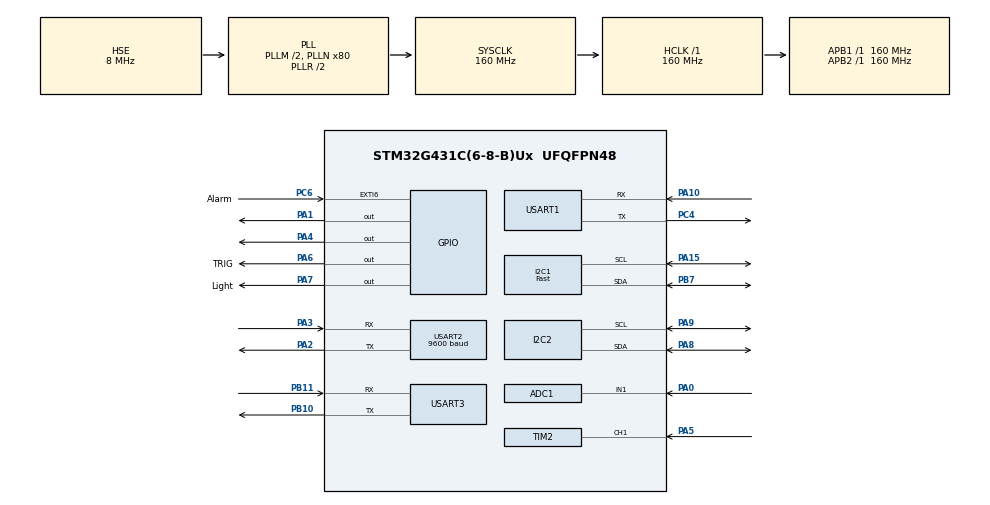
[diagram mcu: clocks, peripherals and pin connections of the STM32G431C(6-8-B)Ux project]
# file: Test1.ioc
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ADC1.Channel-0\#ChannelRegularConversion=ADC_CHANNEL_1
ADC1.NbrOfConversionFlag=1
ADC1.OffsetNumber-0\#ChannelRegularConversion=ADC_OFFSET_NONE
ADC1.Rank-0\#ChannelRegularConversion=1
ADC1.SamplingTime-0\#ChannelRegularConversion=ADC_SAMPLETIME_2CYCLES_5
ADC1.master=1
FREERTOS.Tasks01=defaultTask,0,128,StartDefaultTask,Default,NULL,Dynamic,NULL,NULL
FREERTOS.configTOTAL_HEAP_SIZE=15360
I2C1.I2C_Speed_Mode=I2C_Fast
I2C1.Timing=0x10F32A82
I2C2.Timing=0x30D29DE4
Mcu.Family=STM32G4
Mcu.Name=STM32G431C(6-8-B)Ux
Mcu.Package=UFQFPN48
NVIC.PriorityGroup=NVIC_PRIORITYGROUP_4
NVIC.TIM2_IRQn=true\:5\:0\:false\:false\:true\:true\:true\:true\:true
NVIC.USART2_IRQn=true\:5\:0\:false\:false\:true\:true\:true\:true\:true
PA0.Mode=IN1-Single-Ended
PA0.Signal=ADC1_IN1
PA1.Signal=GPIO_Output
PA10.Mode=Asynchronous
PA10.Signal=USART1_RX
PA13.Mode=Serial_Wire
PA13.Signal=SYS_JTMS-SWDIO
PA14.Mode=Serial_Wire
PA14.Signal=SYS_JTCK-SWCLK
PA15.Mode=I2C
PA15.Signal=I2C1_SCL
PA2.Mode=Asynchronous
PA2.Signal=USART2_TX
PA3.Mode=Asynchronous
PA3.Signal=USART2_RX
PA4.Signal=GPIO_Output
PA5.Signal=S_TIM2_CH1
PA6.GPIO_Label=TRIG
PA6.Signal=GPIO_Output
PA7.GPIO_Label=Light
PA7.Signal=GPIO_Output
PA8.Mode=I2C
PA8.Signal=I2C2_SDA
PA9.Mode=I2C
PA9.Signal=I2C2_SCL
PB10.Mode=Asynchronous
PB10.Signal=USART3_TX
PB11.Mode=Asynchronous
PB11.Signal=USART3_RX
PB7.Mode=I2C
PB7.Signal=I2C1_SDA
PC4.Mode=Asynchronous
PC4.Signal=USART1_TX
PC6.GPIO_Label=Alarm
PC6.GPIO_PuPd=GPIO_NOPULL
PC6.Signal=GPXTI6
PF0-OSC_IN.Mode=HSE-External-Oscillator
PF0-OSC_IN.Signal=RCC_OSC_IN
PF1-OSC_OUT.Mode=HSE-External-Oscillator
PF1-OSC_OUT.Signal=RCC_OSC_OUT
ProjectManager.HeapSize=0x200
ProjectManager.StackSize=0x400
ProjectManager.TargetToolchain=MDK-ARM V5.32
RCC.ADC12Freq_Value=160000000
RCC.AHBFreq_Value=160000000
RCC.APB1Freq_Value=160000000
RCC.APB1TimFreq_Value=160000000
RCC.APB2Freq_Value=160000000
RCC.APB2TimFreq_Value=160000000
RCC.CortexFreq_Value=160000000
RCC.EXTERNAL_CLOCK_VALUE=12288000
RCC.HCLKFreq_Value=160000000
RCC.HSI48_VALUE=48000000
RCC.HSI_VALUE=16000000
RCC.LSE_VALUE=32768
RCC.PLLM=RCC_PLLM_DIV2
RCC.PLLN=80
RCC.PLLSourceVirtual=RCC_PLLSOURCE_HSE
RCC.SYSCLKFreq_VALUE=160000000
RCC.SYSCLKSource=RCC_SYSCLKSOURCE_PLLCLK
RCC.USBFreq_Value=160000000
RCC.VCOOutputFreq_Value=320000000
SH.S_TIM2_CH1.0=TIM2_CH1,Input_Capture1_from_TI1
TIM2.Channel-Input_Capture1_from_TI1=TIM_CHANNEL_1
TIM2.PeriodNoDither=65535
TIM2.Prescaler=160-1
USART1.VirtualMode-Asynchronous=VM_ASYNC
USART2.BaudRate=9600
USART2.VirtualMode-Asynchronous=VM_ASYNC
USART3.VirtualMode-Asynchronous=VM_ASYNC
VP_FREERTOS_VS_CMSIS_V1.Mode=CMSIS_V1
VP_SYS_VS_DBSignals.Mode=DisableDeadBatterySignals
board=custom

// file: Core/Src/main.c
/* USER CODE BEGIN Header */
/**
  ******************************************************************************
  * @file           : main.c
  * @brief          : Main program body
  ******************************************************************************
  * @attention
  *
  * Copyright (c) 2026 STMicroelectronics.
  * All rights reserved.
  *
  * This software is licensed under terms that can be found in the LICENSE file
  * in the root directory of this software component.
  * If no LICENSE file comes with this software, it is provided AS-IS.
  *
  ******************************************************************************
  */
/* USER CODE END Header */
#include "main.h"
#include "cmsis_os.h"
#include "adc.h"
#include "i2c.h"
#include "tim.h"
#include "usart.h"
#include "gpio.h"

/* USER CODE BEGIN Includes */
#include "oled.h"

/* USER CODE END Includes */

void SystemClock_Config(void);
void MX_FREERTOS_Init(void);

int main(void)
{

  /* MCU Configuration--------------------------------------------------------*/

  /* Reset of all peripherals, Initializes the Flash interface and the Systick. */
  HAL_Init();

  /* Configure the system clock */
  SystemClock_Config();

  /* Initialize all configured peripherals */
  MX_GPIO_Init();
  MX_I2C1_Init();
  MX_USART1_UART_Init();
  MX_USART2_UART_Init();
  MX_TIM2_Init();
  MX_ADC1_Init();
  MX_I2C2_Init();
  MX_USART3_UART_Init();
  /* USER CODE BEGIN 2 */
  OLED_Init();
  OLED_Clear();
  /* USER CODE END 2 */

  /* Call init function for freertos objects (in cmsis_os2.c) */
  MX_FREERTOS_Init();

  /* Start scheduler */
  osKernelStart();

  /* We should never get here as control is now taken by the scheduler */

  /* Infinite loop */
  while (1)
  {

  }
}

void SystemClock_Config(void)
{
  RCC_OscInitTypeDef RCC_OscInitStruct = {0};
  RCC_ClkInitTypeDef RCC_ClkInitStruct = {0};

  /** Configure the main internal regulator output voltage
  */
  HAL_PWREx_ControlVoltageScaling(PWR_REGULATOR_VOLTAGE_SCALE1_BOOST);

  /** Initializes the RCC Oscillators according to the specified parameters
  * in the RCC_OscInitTypeDef structure.
  */
  RCC_OscInitStruct.OscillatorType = RCC_OSCILLATORTYPE_HSE;
  RCC_OscInitStruct.HSEState = RCC_HSE_ON;
  RCC_OscInitStruct.PLL.PLLState = RCC_PLL_ON;
  RCC_OscInitStruct.PLL.PLLSource = RCC_PLLSOURCE_HSE;
  RCC_OscInitStruct.PLL.PLLM = RCC_PLLM_DIV2;
  RCC_OscInitStruct.PLL.PLLN = 80;
  RCC_OscInitStruct.PLL.PLLP = RCC_PLLP_DIV2;
  RCC_OscInitStruct.PLL.PLLQ = RCC_PLLQ_DIV2;
  RCC_OscInitStruct.PLL.PLLR = RCC_PLLR_DIV2;
  if (HAL_RCC_OscConfig(&RCC_OscInitStruct) != HAL_OK)
  {
    Error_Handler();
  }

  /** Initializes the CPU, AHB and APB buses clocks
  */
  RCC_ClkInitStruct.ClockType = RCC_CLOCKTYPE_HCLK|RCC_CLOCKTYPE_SYSCLK
                              |RCC_CLOCKTYPE_PCLK1|RCC_CLOCKTYPE_PCLK2;
  RCC_ClkInitStruct.SYSCLKSource = RCC_SYSCLKSOURCE_PLLCLK;
  RCC_ClkInitStruct.AHBCLKDivider = RCC_SYSCLK_DIV1;
  RCC_ClkInitStruct.APB1CLKDivider = RCC_HCLK_DIV1;
  RCC_ClkInitStruct.APB2CLKDivider = RCC_HCLK_DIV1;

  if (HAL_RCC_ClockConfig(&RCC_ClkInitStruct, FLASH_LATENCY_4) != HAL_OK)
  {
    Error_Handler();
  }
}

void Error_Handler(void)
{
  __disable_irq();
  while (1)
  {
  }
}

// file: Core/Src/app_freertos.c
/* USER CODE BEGIN Header */
/**
  ******************************************************************************
  * File Name          : app_freertos.c
  * Description        : Code for freertos applications
  ******************************************************************************
  * @attention
  *
  * Copyright (c) 2026 STMicroelectronics.
  * All rights reserved.
  *
  * This software is licensed under terms that can be found in the LICENSE file
  * in the root directory of this software component.
  * If no LICENSE file comes with this software, it is provided AS-IS.
  *
  ******************************************************************************
  */
/* USER CODE END Header */

#include "FreeRTOS.h"
#include "task.h"
#include "main.h"
#include "cmsis_os.h"

/* USER CODE BEGIN Includes */
#include <stdio.h>
#include <string.h>
#include "mpu6050.h"
#include "i2c.h"
#include "hr04.h"
#include "tim.h"
#include "usart.h"
#include "gps.h"
#include "oled.h"
#include "adc.h"
#include <math.h>
#include <stdbool.h>
#include <stdlib.h>    /* atof */
/* USER CODE END Includes */

/* USER CODE BEGIN Variables */
volatile uint8_t GPS_RX_BUF;
volatile uint16_t GPS_RX_INDEX = 0;
volatile uint32_t adc_value = 0;
volatile uint8_t light_percent = 0;
char oled_buf[20];
float distance;
float pitch = 0.0f, roll = 0.0f;          // 融合角度
float pitch_off = 0.0f, roll_off = 0.0f;  // 校准偏移量
const float alpha = 0.98f;                // 滤波系数

float pitch_real = 0.0f,roll_real = 0.0f;
char gps_lat_str[16] = "0.000000";   /* 经度字符串 */
char gps_lon_str[16] = "0.000000";   /* 纬度字符串 */
uint8_t gps_valid = 0;               /* GPS是否有效 */
uint8_t sms_rx_buf[128];

#define RAD_TO_DEG 57.2957795f
#define ALPHA       0.98f
#define RAD_TO_DEG  57.2957795f
#define DT          0.01f        // 与 osDelay(10) 对应，单位秒

MPU6050_t MPU6050;
osThreadId lightTaskHandle;
osThreadId oledTaskHandle;
osThreadId buzzerTaskHandle;
osThreadId mpuTaskHandle;
osThreadId gpsTaskHandle;
osThreadId hcsr04TaskHandle;
osThreadId ledTaskHandle;
osSemaphoreId smsTriggerSemaphore;   /* PC6 触发信号量 */
osThreadId    smsTaskHandle;         /* SMS 任务句柄 */
/* USER CODE END Variables */
osThreadId defaultTaskHandle;

/* USER CODE BEGIN FunctionPrototypes */
void StartMpuTask(void const * argument);
void Mpu6050_Function(I2C_HandleTypeDef* i2cHandle, MPU6050_t *DataStruct);
void StartGpsTask(void const * argument);
void StartHcsr04Task(void const * argument);
void StartLightTask(void const * argument);
void StartOledTask(void const * argument);
void StartBuzzerTask(void const * argument);
void StartLedTask(void const * argument);
void StartSmsTask(void const * argument);          /* SMS 任务 */
void A7670_SendCmd(const char *cmd, uint32_t delay_ms);
void A7670_SendSMS(const char *phone, const char *message);
void A7670_SendCmdWithResponse(const char *cmd, uint32_t delay_ms);
/* USER CODE END FunctionPrototypes */

void StartDefaultTask(void const * argument);

void MX_FREERTOS_Init(void); /* (MISRA C 2004 rule 8.1) */

void MX_FREERTOS_Init(void) {

  /* Create the thread(s) */
  /* definition and creation of defaultTask */
  osThreadDef(defaultTask, StartDefaultTask, osPriorityNormal, 0, 128);
  defaultTaskHandle = osThreadCreate(osThread(defaultTask), NULL);

  /* USER CODE BEGIN RTOS_THREADS */
  /* add threads, ... */
  osThreadDef(mpuTask, StartMpuTask, osPriorityNormal, 0, 256);
  mpuTaskHandle = osThreadCreate(osThread(mpuTask), NULL);

  osThreadDef(gpsTask, StartGpsTask, osPriorityNormal, 0, 256);
  gpsTaskHandle = osThreadCreate(osThread(gpsTask), NULL);

  osThreadDef(hcsr04Task, StartHcsr04Task, osPriorityBelowNormal, 0, 256);
  hcsr04TaskHandle = osThreadCreate(osThread(hcsr04Task), NULL);

  osThreadDef(lightTask, StartLightTask, osPriorityNormal, 0, 256);
  lightTaskHandle = osThreadCreate(osThread(lightTask), NULL);

  osThreadDef(oledTask, StartOledTask, osPriorityBelowNormal, 0, 256);
  oledTaskHandle = osThreadCreate(osThread(oledTask), NULL);

  osThreadDef(buzzerTask, StartBuzzerTask, osPriorityBelowNormal, 0, 256);
  buzzerTaskHandle = osThreadCreate(osThread(buzzerTask), NULL);

  osThreadDef(ledTask, StartLedTask, osPriorityNormal, 0, 128);
  ledTaskHandle = osThreadCreate(osThread(ledTask), NULL);

  osSemaphoreDef(smsTrigger);
  smsTriggerSemaphore = osSemaphoreCreate(osSemaphore(smsTrigger), 1);
  osSemaphoreWait(smsTriggerSemaphore, 0);  /* 清空初始计数 */

  osThreadDef(smsTask, StartSmsTask, osPriorityNormal, 0, 256);
  smsTaskHandle = osThreadCreate(osThread(smsTask), NULL);

  /* USER CODE END RTOS_THREADS */

}

void StartDefaultTask(void const * argument)
{
  for(;;)
  {
    osDelay(1);
  }
}

/* USER CODE BEGIN Application */
void HAL_TIM_IC_CaptureCallback(TIM_HandleTypeDef *htim)
{
    if (htim->Instance == TIM2)
    {
        Hcsr04TimIcIsr(htim);
    }
}

void HAL_TIM_PeriodElapsedCallback(TIM_HandleTypeDef *htim)
{
    if (htim->Instance == TIM2)
    {
        Hcsr04TimOverflowIsr(htim);
    }
}

void HAL_UART_RxCpltCallback(UART_HandleTypeDef *huart)
{
    if (huart->Instance == USART2)
    {
        if (GPS_RX_BUF == '$')
        {
            GPS_RX_INDEX = 0;
        }

        if (GPS_RX_INDEX < GPS_Buffer_Length - 1)
        {
            Save_Data.GPS_Buffer[GPS_RX_INDEX++] = GPS_RX_BUF;

            if (GPS_RX_BUF == '\n')
            {
                Save_Data.GPS_Buffer[GPS_RX_INDEX] = '\0';
                Save_Data.isGetData = true;
            }
        }
        else
        {
            GPS_RX_INDEX = 0;
        }

        HAL_UART_Receive_IT(&huart2, &GPS_RX_BUF, 1);
    }
}

/* ========== 校准函数 ========== */
void MPU6050_Calibrate(I2C_HandleTypeDef *hi2c, MPU6050_t *mpu)
{
    float p = 0, r = 0;

    // 先预热滤波器50次，丢弃结果
    for (uint8_t i = 0; i < 50; i++)
    {
        MPU6050_Read_All(hi2c, mpu);
        float acc_p = atan2f(mpu->Ay,
                       sqrtf(mpu->Ax*mpu->Ax + mpu->Az*mpu->Az)) * RAD_TO_DEG;
        float acc_r = atan2f(-mpu->Ax, mpu->Az) * RAD_TO_DEG;

        //  正确互补滤波（陀螺仪积分 + 加速度计修正）
        float gyroPitch = mpu->Gy * DT;  // 陀螺仪角速度 × dt
        float gyroRoll  = mpu->Gx * DT;
        pitch = ALPHA * (pitch + gyroPitch) + (1.0f - ALPHA) * acc_p;
        roll  = ALPHA * (roll  + gyroRoll)  + (1.0f - ALPHA) * acc_r;
        osDelay(10);
    }

    // 再采集100次求平均，作为偏移量
    for (uint8_t i = 0; i < 100; i++)
    {
        MPU6050_Read_All(hi2c, mpu);
        float acc_p = atan2f(mpu->Ay,
                       sqrtf(mpu->Ax*mpu->Ax + mpu->Az*mpu->Az)) * RAD_TO_DEG;
        float acc_r = atan2f(-mpu->Ax, mpu->Az) * RAD_TO_DEG;

        float gyroPitch = mpu->Gy * DT;
        float gyroRoll  = mpu->Gx * DT;
        pitch = ALPHA * (pitch + gyroPitch) + (1.0f - ALPHA) * acc_p;
        roll  = ALPHA * (roll  + gyroRoll)  + (1.0f - ALPHA) * acc_r;

        p += pitch;
        r += roll;
        osDelay(10);
    }

    pitch_off = p / 100.0f;
    roll_off  = r / 100.0f;
    printf("校准完成！偏移：Pitch=%.2f° Roll=%.2f°\r\n", pitch_off, roll_off);
}

/* ========== 主运行函数 ========== */
void Mpu6050_Function(I2C_HandleTypeDef* i2cHandle, MPU6050_t *DataStruct)
{
    MPU6050_Read_All(i2cHandle, DataStruct);

    float accPitch = atan2f(DataStruct->Ay,
                      sqrtf(DataStruct->Ax*DataStruct->Ax +
                            DataStruct->Az*DataStruct->Az)) * RAD_TO_DEG;
    float accRoll  = atan2f(-DataStruct->Ax, DataStruct->Az) * RAD_TO_DEG;

    float gyroPitch = DataStruct->Gy * DT;
    float gyroRoll  = DataStruct->Gx * DT;
    pitch = ALPHA * (pitch + gyroPitch) + (1.0f - ALPHA) * accPitch;
    roll  = ALPHA * (roll  + gyroRoll)  + (1.0f - ALPHA) * accRoll;

    pitch_real = pitch - pitch_off;
    roll_real  = roll  - roll_off;

//    printf("Pitch: %.1f° | Roll: %.1f°\r\n", pitch_real, roll_real);

    // ========== 跌倒检测状态机 ==========
    static uint8_t  fall_state      = 0;
    static uint32_t fall_first_tick = 0;

    if (fabsf(roll_real) > 60.0f)
    {
        if (fall_state == 0)
        {
            fall_state      = 1;
            fall_first_tick = osKernelSysTick();
            printf("疑似跌倒，10s后二次确认...\r\n");
        }
        else if (fall_state == 1)
        {
            uint32_t elapsed = osKernelSysTick() - fall_first_tick;
            if (elapsed >= 10000)
            {
                printf("跌倒确认！正在通知监护人...\r\n");
                osSemaphoreRelease(smsTriggerSemaphore);  // ← 触发短信
                fall_state = 2;  // 进入锁定态，不再重复触发
            }
        }
    }
    else
    {
        if (fall_state == 1)
        {
            printf("角度已恢复，取消疑似跌倒。\r\n");
        }
        // 注意：fall_state==2 不重置，保持锁定
        if (fall_state != 2)
        {
            fall_state = 0;
        }
    }
}

/* ========== 任务入口 ========== */
void StartMpuTask(void const * argument)
{
    osDelay(2000);
    while (MPU6050_Init(&hi2c1) == 1)
    {
        printf("MPU6050 初始化失败\r\n");
        osDelay(500);
    }
    printf("MPU6050 初始化成功\r\n");

    printf("请平放设备，3秒后开始校准...\r\n");
    osDelay(3000);
    MPU6050_Calibrate(&hi2c1, &MPU6050);

    for (;;)
    {
        Mpu6050_Function(&hi2c1, &MPU6050);
        osDelay(10);   // 10ms = 100Hz 刷新率
    }
 }

/* GPS模块任务 */
void StartGpsTask(void const * argument)
{
    osDelay(100);

    printf("gps task start\r\n");
    HAL_UART_Receive_IT(&huart2, (uint8_t *)&GPS_RX_BUF, 1);

    for(;;)
    {
        printf("gps task alive\r\n");
        parseGpsBuffer();
        printGpsBuffer();
        osDelay(1000);
    }
}
/* Hr04测距模块任务 */
void StartHcsr04Task(void const * argument)
{
    osDelay(100);

    Hcsr04Init(&htim2, TIM_CHANNEL_1);
    printf("hc-sr04 start!\r\n");

    for(;;)
    {
        osDelay(300);
    }
}
/* 光敏传感器任务 */
void StartLightTask(void const * argument)
{
  osDelay(100);

  for(;;)
  {
    if (HAL_ADC_Start(&hadc1) == HAL_OK)
    {
      if (HAL_ADC_PollForConversion(&hadc1, 10) == HAL_OK)
      {
        adc_value = HAL_ADC_GetValue(&hadc1);
        light_percent = 100 - (adc_value * 100 / 4095);
      }
      HAL_ADC_Stop(&hadc1);
    }

    osDelay(200);
  }
}

/* OLED显示任务 */
void StartOledTask(void const * argument)
{
    osDelay(200);

    for (;;)
    {
        OLED_Clear();

        /* 光照 */
        sprintf(oled_buf, "L:%d%%", light_percent);
        OLED_ShowString(0, 0, (uint8_t *)oled_buf, 16);

        /* GPS 显示经纬度，格式：22.07.48 113.30.26 */
        if (gps_valid)
            sprintf(oled_buf, "%s %s", gps_lat_str, gps_lon_str);
        else
            sprintf(oled_buf, "GPS: waiting...");
        OLED_ShowString(0, 2, (uint8_t *)oled_buf, 16);

        /* 距离 */
        distance = Hcsr04ReadFiltered();
        sprintf(oled_buf, "Dist:%.1f cm", distance);
        OLED_ShowString(0, 4, (uint8_t *)oled_buf, 16);

        /* Pitch / Roll */
        sprintf(oled_buf, "P:%.1f R:%.1f", pitch_real, roll_real);
        OLED_ShowString(0, 6, (uint8_t *)oled_buf, 16);

        osDelay(500);
    }
}

/* 蜂鸣器任务 */
void StartBuzzerTask(void const * argument)
{
    osDelay(200);
    HAL_GPIO_WritePin(GPIOA, GPIO_PIN_1, GPIO_PIN_RESET);

    for(;;)
    {
        // 阈值：小于10cm报警
        if (distance < 10.0f && distance > 0)
        {
            HAL_GPIO_WritePin(GPIOA, GPIO_PIN_1, GPIO_PIN_SET);  // 响
        }
        else
        {
            HAL_GPIO_WritePin(GPIOA, GPIO_PIN_1, GPIO_PIN_RESET);// 不响
        }
        osDelay(100);
    }
}

/* 照明灯任务 */
void StartLedTask(void const * argument)
{
    osDelay(100);

    HAL_GPIO_WritePin(GPIOA, GPIO_PIN_7, GPIO_PIN_RESET);

    for(;;)
    {
        if (light_percent < 50)
        {
            HAL_GPIO_WritePin(GPIOA, GPIO_PIN_7, GPIO_PIN_SET);
            printf("光照=%d%%, 照明灯打开\r\n", light_percent);
        }
        else
        {
            HAL_GPIO_WritePin(GPIOA, GPIO_PIN_7, GPIO_PIN_RESET);
            printf("光照=%d%%, 照明灯关闭\r\n", light_percent);
        }

        osDelay(500);
    }
}

/* ============================================================
 * SMS 模块实现
 * ============================================================ */

/* 发送 AT 指令并等待指定时间 */
void A7670_SendCmd(const char *cmd, uint32_t delay_ms)
{
    HAL_UART_Transmit(&huart3, (uint8_t *)cmd, strlen(cmd), 1000);
    osDelay(delay_ms);
}

/* 发送短信（Text 模式） */
void A7670_SendSMS(const char *phone, const char *message)
{
    char cmd[64];
    uint8_t ctrlZ = 0x1A;

    printf("[SMS] 开始发送短信至 %s\r\n", phone);

    A7670_SendCmd("AT+CMGF=1\r\n", 500);
    A7670_SendCmd("AT+CSCS=\"UCS2\"\r\n", 500);   /* 改为 UCS2 支持中文 */

    sprintf(cmd, "AT+CMGS=\"%s\"\r\n", phone);
    A7670_SendCmd(cmd, 500);

    A7670_SendCmd(message, 100);

    HAL_UART_Transmit(&huart3, &ctrlZ, 1, 1000);
    osDelay(5000);

    printf("[SMS] 发送完成\r\n");
}

/* SMS FreeRTOS 任务 */

void StartSmsTask(void const * argument)
{
    osDelay(5000);
    printf("[SMS] SMS任务就绪，等待跌倒触发...\r\n");

    for (;;)
    {
        if (osSemaphoreWait(smsTriggerSemaphore, osWaitForever) == osOK)
        {
            printf("[SMS] 收到跌倒信号，正在发送短信...\r\n");

            char sms_content[320];

            if (gps_valid)
            {
                /* UCS2编码说明：
                 * 8001BACD75AEFFBF8ECC272C8BF7559059052001BACD662F5426AE895168FF01
                 * = "老人疑似跌倒超过10s，请留意老人是否安全！"
                 * 7ECF5EA6FF1A = "经度："
                 * 7EAF5EA6FF1A = "纬度："
                 * 经纬度数字直接转ASCII对应UCS2（前补00）
                 */

                /* 把经纬度字符串转为UCS2 */
                char lat_ucs2[64] = {0};
                char lon_ucs2[64] = {0};
                for (int i = 0; i < strlen(gps_lat_str); i++)
                    sprintf(lat_ucs2 + i*4, "00%02X", (uint8_t)gps_lat_str[i]);
                for (int i = 0; i < strlen(gps_lon_str); i++)
                    sprintf(lon_ucs2 + i*4, "00%02X", (uint8_t)gps_lon_str[i]);

                snprintf(sms_content, sizeof(sms_content),
                    "8001BACD75AEFFBF8ECC272C8BF7559059052001BACD662F5426AE895168FF01"
                    "7ECF5EA6FF1A%s"
                    "00200077EFBA5EA6FF1A%s",
                    lat_ucs2, lon_ucs2);
            }
            else
            {
                /* GPS无效时只发英文提示 */
                snprintf(sms_content, sizeof(sms_content),
                    "8001BACD75AEFFBF8ECC272C8BF7559059052001BACD662F5426AE895168FF01"
                    "0047005000530020004E0041");
            }

            printf("[SMS] 发送内容: %s\r\n", sms_content);
            A7670_SendSMS("123456789", sms_content); //修改为实际的求救电话

            printf("[SMS] 短信已发送，任务结束。\r\n");
            HAL_GPIO_WritePin(GPIOA, GPIO_PIN_1, GPIO_PIN_SET);
            vTaskSuspend(NULL);
        }
    }
}

/* USER CODE END Application */
